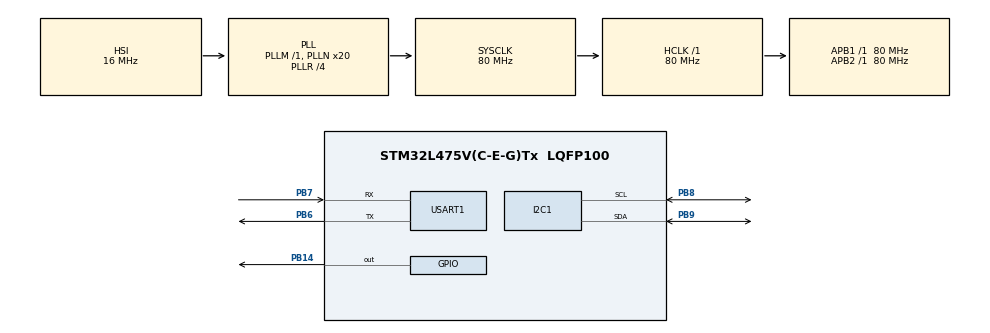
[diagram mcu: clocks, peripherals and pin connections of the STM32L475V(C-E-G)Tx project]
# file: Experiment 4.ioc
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I2C1.Timing=0x10D19CE4
Mcu.Family=STM32L4
Mcu.Name=STM32L475V(C-E-G)Tx
Mcu.Package=LQFP100
NVIC.PriorityGroup=NVIC_PRIORITYGROUP_4
PB14.Signal=GPIO_Output
PB6.Mode=Asynchronous
PB6.Signal=USART1_TX
PB7.Mode=Asynchronous
PB7.Signal=USART1_RX
PB8.Mode=I2C
PB8.Signal=I2C1_SCL
PB9.Mode=I2C
PB9.Signal=I2C1_SDA
PC14-OSC32_IN\ (PC14).Mode=LSE-External-Clock-Source
PC14-OSC32_IN\ (PC14).Signal=RCC_OSC32_IN
PH0-OSC_IN\ (PH0).Mode=HSE-External-Clock-Source
PH0-OSC_IN\ (PH0).Signal=RCC_OSC_IN
ProjectManager.HeapSize=0x200
ProjectManager.StackSize=0x400
ProjectManager.TargetToolchain=STM32CubeIDE
RCC.ADCFreq_Value=192000000
RCC.AHBFreq_Value=80000000
RCC.APB1Freq_Value=80000000
RCC.APB1TimFreq_Value=80000000
RCC.APB2Freq_Value=80000000
RCC.APB2TimFreq_Value=80000000
RCC.CortexFreq_Value=80000000
RCC.HCLKFreq_Value=80000000
RCC.HSE_VALUE=8000000
RCC.HSI_VALUE=16000000
RCC.MSI_VALUE=4000000
RCC.PLLN=20
RCC.PLLR=RCC_PLLR_DIV4
RCC.PLLSAI1N=24
RCC.PLLSourceVirtual=RCC_PLLSOURCE_HSI
RCC.SYSCLKFreq_VALUE=80000000
RCC.SYSCLKSource=RCC_SYSCLKSOURCE_PLLCLK
RCC.USBFreq_Value=192000000
RCC.VCOOutputFreq_Value=320000000
USART1.VirtualMode-Asynchronous=VM_ASYNC
board=B-L475E-IOT01A1

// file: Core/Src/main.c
/* USER CODE BEGIN Header */
/**
  ******************************************************************************
  * @file           : main.c
  * @brief          : Main program body
  ******************************************************************************
  * @attention
  *
  * Copyright (c) 2026 STMicroelectronics.
  * All rights reserved.
  *
  * This software is licensed under terms that can be found in the LICENSE file
  * in the root directory of this software component.
  * If no LICENSE file comes with this software, it is provided AS-IS.
  *
  ******************************************************************************
  */
/* USER CODE END Header */
#include "main.h"

/* USER CODE BEGIN Includes */
#include <hts221_driver.h>
#include "uart_console.h"

#include "stm32l475e_iot01.h"
#include <math.h>
#include <string.h>
#include <stdio.h>
/* USER CODE END Includes */

I2C_HandleTypeDef hi2c1;

UART_HandleTypeDef huart1;

/* USER CODE BEGIN PV */
char str[50];
float temp_value = 0;
float hum_value = 0;// Measured temperature value
char str_tmp[100] = ""; // Formatted message to display the temperature value
uint8_t msg3[] = "=====> Temperature sensor HTS221 initialized \r\n ";

/* USER CODE END PV */

void SystemClock_Config(void);
static void MX_GPIO_Init(void);
static void MX_I2C1_Init(void);
static void MX_USART1_UART_Init(void);

int main(void)
{

  /* MCU Configuration--------------------------------------------------------*/

  /* Reset of all peripherals, Initializes the Flash interface and the Systick. */
  HAL_Init();

  /* Configure the system clock */
  SystemClock_Config();

  /* Initialize all configured peripherals */
  MX_GPIO_Init();
  MX_I2C1_Init();
  MX_USART1_UART_Init();
  /* USER CODE BEGIN 2 */

  UART_Console_Init(&huart1);

  if (!HTS221_Init())
      {
          UART_Console_Print("HTS221 init failed\r\n");
          while (1);
      }

      UART_Console_Print("HTS221 initialized\r\n");

      hts221_data_t sensor_data;

  /* USER CODE END 2 */

  /* Infinite loop */
  /* USER CODE BEGIN WHILE */
  while (1)

  {
	  if (HTS221_Read(&sensor_data))
	          {
	              UART_Console_Print(
	                  "Temp: %.1f C | Humidity: %.1f %%\r\n",
	                  sensor_data.temperature_c,
	                  sensor_data.humidity_percent);
	          }

	          HAL_Delay(300);
	      }

    /* USER CODE END WHILE */

  }

void SystemClock_Config(void)
{
  RCC_OscInitTypeDef RCC_OscInitStruct = {0};
  RCC_ClkInitTypeDef RCC_ClkInitStruct = {0};

  /** Configure the main internal regulator output voltage
  */
  if (HAL_PWREx_ControlVoltageScaling(PWR_REGULATOR_VOLTAGE_SCALE1) != HAL_OK)
  {
    Error_Handler();
  }

  /** Initializes the RCC Oscillators according to the specified parameters
  * in the RCC_OscInitTypeDef structure.
  */
  RCC_OscInitStruct.OscillatorType = RCC_OSCILLATORTYPE_HSI;
  RCC_OscInitStruct.HSIState = RCC_HSI_ON;
  RCC_OscInitStruct.HSICalibrationValue = RCC_HSICALIBRATION_DEFAULT;
  RCC_OscInitStruct.PLL.PLLState = RCC_PLL_ON;
  RCC_OscInitStruct.PLL.PLLSource = RCC_PLLSOURCE_HSI;
  RCC_OscInitStruct.PLL.PLLM = 1;
  RCC_OscInitStruct.PLL.PLLN = 20;
  RCC_OscInitStruct.PLL.PLLP = RCC_PLLP_DIV7;
  RCC_OscInitStruct.PLL.PLLQ = RCC_PLLQ_DIV2;
  RCC_OscInitStruct.PLL.PLLR = RCC_PLLR_DIV4;
  if (HAL_RCC_OscConfig(&RCC_OscInitStruct) != HAL_OK)
  {
    Error_Handler();
  }

  /** Initializes the CPU, AHB and APB buses clocks
  */
  RCC_ClkInitStruct.ClockType = RCC_CLOCKTYPE_HCLK|RCC_CLOCKTYPE_SYSCLK
                              |RCC_CLOCKTYPE_PCLK1|RCC_CLOCKTYPE_PCLK2;
  RCC_ClkInitStruct.SYSCLKSource = RCC_SYSCLKSOURCE_PLLCLK;
  RCC_ClkInitStruct.AHBCLKDivider = RCC_SYSCLK_DIV1;
  RCC_ClkInitStruct.APB1CLKDivider = RCC_HCLK_DIV1;
  RCC_ClkInitStruct.APB2CLKDivider = RCC_HCLK_DIV1;

  if (HAL_RCC_ClockConfig(&RCC_ClkInitStruct, FLASH_LATENCY_4) != HAL_OK)
  {
    Error_Handler();
  }
}

static void MX_I2C1_Init(void)
{

  hi2c1.Instance = I2C1;
  hi2c1.Init.Timing = 0x10D19CE4;
  hi2c1.Init.OwnAddress1 = 0;
  hi2c1.Init.AddressingMode = I2C_ADDRESSINGMODE_7BIT;
  hi2c1.Init.DualAddressMode = I2C_DUALADDRESS_DISABLE;
  hi2c1.Init.OwnAddress2 = 0;
  hi2c1.Init.OwnAddress2Masks = I2C_OA2_NOMASK;
  hi2c1.Init.GeneralCallMode = I2C_GENERALCALL_DISABLE;
  hi2c1.Init.NoStretchMode = I2C_NOSTRETCH_DISABLE;
  if (HAL_I2C_Init(&hi2c1) != HAL_OK)
  {
    Error_Handler();
  }

  /** Configure Analogue filter
  */
  if (HAL_I2CEx_ConfigAnalogFilter(&hi2c1, I2C_ANALOGFILTER_ENABLE) != HAL_OK)
  {
    Error_Handler();
  }

  /** Configure Digital filter
  */
  if (HAL_I2CEx_ConfigDigitalFilter(&hi2c1, 0) != HAL_OK)
  {
    Error_Handler();
  }

}

static void MX_USART1_UART_Init(void)
{

  huart1.Instance = USART1;
  huart1.Init.BaudRate = 115200;
  huart1.Init.WordLength = UART_WORDLENGTH_8B;
  huart1.Init.StopBits = UART_STOPBITS_1;
  huart1.Init.Parity = UART_PARITY_NONE;
  huart1.Init.Mode = UART_MODE_TX_RX;
  huart1.Init.HwFlowCtl = UART_HWCONTROL_NONE;
  huart1.Init.OverSampling = UART_OVERSAMPLING_16;
  huart1.Init.OneBitSampling = UART_ONE_BIT_SAMPLE_DISABLE;
  huart1.AdvancedInit.AdvFeatureInit = UART_ADVFEATURE_NO_INIT;
  if (HAL_UART_Init(&huart1) != HAL_OK)
  {
    Error_Handler();
  }

}

static void MX_GPIO_Init(void)
{
  GPIO_InitTypeDef GPIO_InitStruct = {0};

  /* GPIO Ports Clock Enable */
  __HAL_RCC_GPIOC_CLK_ENABLE();
  __HAL_RCC_GPIOH_CLK_ENABLE();
  __HAL_RCC_GPIOB_CLK_ENABLE();

  /*Configure GPIO pin Output Level */
  HAL_GPIO_WritePin(GPIOB, GPIO_PIN_14, GPIO_PIN_RESET);

  /*Configure GPIO pin : PB14 */
  GPIO_InitStruct.Pin = GPIO_PIN_14;
  GPIO_InitStruct.Mode = GPIO_MODE_OUTPUT_PP;
  GPIO_InitStruct.Pull = GPIO_NOPULL;
  GPIO_InitStruct.Speed = GPIO_SPEED_FREQ_LOW;
  HAL_GPIO_Init(GPIOB, &GPIO_InitStruct);

}

void Error_Handler(void)
{
  __disable_irq();
  while (1)
  {
  }
}
